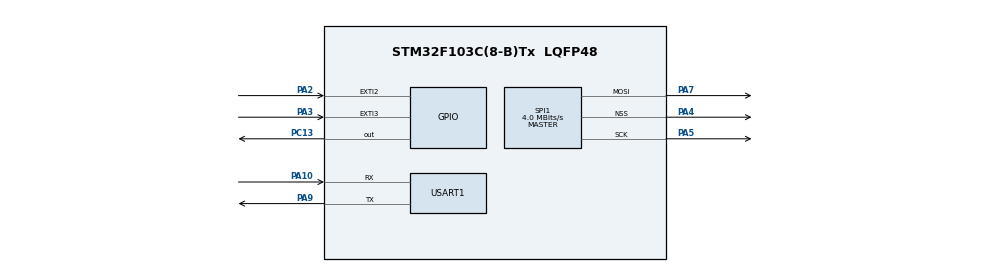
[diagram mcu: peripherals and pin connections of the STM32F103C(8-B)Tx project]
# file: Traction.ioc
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Mcu.Family=STM32F1
Mcu.Name=STM32F103C(8-B)Tx
Mcu.Package=LQFP48
NVIC.EXTI2_IRQn=true\:0\:0\:false\:false\:true\:true
NVIC.EXTI3_IRQn=true\:0\:0\:false\:false\:true\:true
NVIC.PriorityGroup=NVIC_PRIORITYGROUP_4
NVIC.TIM3_IRQn=true\:0\:0\:false\:false\:true\:true
PA10.Mode=Asynchronous
PA10.Signal=USART1_RX
PA2.Signal=GPXTI2
PA3.Signal=GPXTI3
PA4.Mode=NSS_Signal_Hard_Output
PA4.Signal=SPI1_NSS
PA5.Mode=TX_Only_Simplex_Unidirect_Master
PA5.Signal=SPI1_SCK
PA7.Mode=TX_Only_Simplex_Unidirect_Master
PA7.Signal=SPI1_MOSI
PA9.Mode=Asynchronous
PA9.Signal=USART1_TX
PC13-TAMPER-RTC.Signal=GPIO_Output
ProjectManager.HeapSize=0x200
ProjectManager.StackSize=0x400
ProjectManager.TargetToolchain=Makefile
RCC.APB1Freq_Value=8000000
RCC.APB2Freq_Value=8000000
SPI1.CalculateBaudRate=4.0 MBits/s
SPI1.DataSize=SPI_DATASIZE_8BIT
SPI1.Direction=SPI_DIRECTION_2LINES
SPI1.Mode=SPI_MODE_MASTER
SPI1.VirtualNSS=VM_NSSHARD
SPI1.VirtualType=VM_MASTER
TIM2.Channel-Output\ Compare1\ No\ Output=TIM_CHANNEL_1
TIM2.Period=40000
TIM2.Prescaler=200
TIM3.Channel-Output\ Compare1\ No\ Output=TIM_CHANNEL_1
TIM3.Period=40000
TIM3.Prescaler=1
USART1.VirtualMode=VM_ASYNC
VP_SYS_VS_ND.Mode=No_Debug
VP_TIM2_VS_ClockSourceINT.Mode=Internal
VP_TIM2_VS_no_output1.Mode=Output Compare1 No Output
VP_TIM3_VS_ClockSourceINT.Mode=Internal
VP_TIM3_VS_no_output1.Mode=Output Compare1 No Output
board=custom

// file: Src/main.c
/* USER CODE BEGIN Header */

/* USER CODE END Header */

#include "main.h"

SPI_HandleTypeDef hspi1;

TIM_HandleTypeDef htim2;
TIM_HandleTypeDef htim3;

UART_HandleTypeDef huart1;

/* USER CODE BEGIN PV */
long pin2p, pin3p, pin2t, pin3t;
int freq2, freq3;
int bias = 75;
int val = 0;
long direction = 1;
int slip = 0;
float integral = 0;
/* USER CODE END PV */

void SystemClock_Config(void);
static void MX_GPIO_Init(void);
static void MX_USART1_UART_Init(void);
static void MX_SPI1_Init(void);
static void MX_TIM2_Init(void);
static void MX_TIM3_Init(void);

int main(void)
{

  /* MCU Configuration--------------------------------------------------------*/

  /* Reset of all peripherals, Initializes the Flash interface and the Systick. */
  HAL_Init();

  /* Configure the system clock */
  SystemClock_Config();

  /* Initialize all configured peripherals */
  MX_GPIO_Init();
  MX_USART1_UART_Init();
  MX_SPI1_Init();
  MX_TIM2_Init();
  MX_TIM3_Init();

  /* Infinite loop */
  while (1)
  {
	slip = freq3 - freq2;
	integral += .01 * slip;

	val = bias + 1.25 * slip + 0.1 * integral; // + integral

	if (val > 255) val = 255;
	if (val < 0) val = 0;

	unsigned char data3[4];
	data3[0] = (freq2>>0) & 0xFF;
	data3[1] = 0xFF;
	data3[2] = (freq3) & 0xFF;
	data3[3] = 0;
	HAL_UART_Transmit(&huart1, data3, sizeof(data3), 1000);

	unsigned char spi_data[2];
	spi_data[0] = 0;
	spi_data[1] = val; //val
	HAL_SPI_Transmit(&hspi1, spi_data, sizeof(spi_data), 1000);

	//HAL_GPIO_TogglePin(GPIOC, GPIO_PIN_13);
	HAL_Delay(10);

	/*unsigned char spi_data[2];
	spi_data[0] = 0;
	spi_data[1] = 255;
	HAL_SPI_Transmit(&hspi1, spi_data, sizeof(spi_data), 1000);*/
  }
}

void SystemClock_Config(void)
{
  RCC_OscInitTypeDef RCC_OscInitStruct = {0};
  RCC_ClkInitTypeDef RCC_ClkInitStruct = {0};

  /**Initializes the CPU, AHB and APB busses clocks
  */
  RCC_OscInitStruct.OscillatorType = RCC_OSCILLATORTYPE_HSI;
  RCC_OscInitStruct.HSIState = RCC_HSI_ON;
  RCC_OscInitStruct.HSICalibrationValue = RCC_HSICALIBRATION_DEFAULT;
  RCC_OscInitStruct.PLL.PLLState = RCC_PLL_NONE;
  if (HAL_RCC_OscConfig(&RCC_OscInitStruct) != HAL_OK)
  {
    Error_Handler();
  }
  /**Initializes the CPU, AHB and APB busses clocks
  */
  RCC_ClkInitStruct.ClockType = RCC_CLOCKTYPE_HCLK|RCC_CLOCKTYPE_SYSCLK
                              |RCC_CLOCKTYPE_PCLK1|RCC_CLOCKTYPE_PCLK2;
  RCC_ClkInitStruct.SYSCLKSource = RCC_SYSCLKSOURCE_HSI;
  RCC_ClkInitStruct.AHBCLKDivider = RCC_SYSCLK_DIV1;
  RCC_ClkInitStruct.APB1CLKDivider = RCC_HCLK_DIV1;
  RCC_ClkInitStruct.APB2CLKDivider = RCC_HCLK_DIV1;

  if (HAL_RCC_ClockConfig(&RCC_ClkInitStruct, FLASH_LATENCY_0) != HAL_OK)
  {
    Error_Handler();
  }
}

static void MX_SPI1_Init(void)
{

  /* SPI1 parameter configuration*/
  hspi1.Instance = SPI1;
  hspi1.Init.Mode = SPI_MODE_MASTER;
  hspi1.Init.Direction = SPI_DIRECTION_2LINES;
  hspi1.Init.DataSize = SPI_DATASIZE_8BIT;
  hspi1.Init.CLKPolarity = SPI_POLARITY_LOW;
  hspi1.Init.CLKPhase = SPI_PHASE_1EDGE;
  hspi1.Init.NSS = SPI_NSS_HARD_OUTPUT;
  hspi1.Init.BaudRatePrescaler = SPI_BAUDRATEPRESCALER_2;
  hspi1.Init.FirstBit = SPI_FIRSTBIT_MSB;
  hspi1.Init.TIMode = SPI_TIMODE_DISABLE;
  hspi1.Init.CRCCalculation = SPI_CRCCALCULATION_DISABLE;
  hspi1.Init.CRCPolynomial = 10;
  if (HAL_SPI_Init(&hspi1) != HAL_OK)
  {
    Error_Handler();
  }

}

static void MX_TIM2_Init(void)
{

  TIM_ClockConfigTypeDef sClockSourceConfig = {0};
  TIM_MasterConfigTypeDef sMasterConfig = {0};

  htim2.Instance = TIM2;
  htim2.Init.Prescaler = 200;
  htim2.Init.CounterMode = TIM_COUNTERMODE_UP;
  htim2.Init.Period = 40000;
  htim2.Init.ClockDivision = TIM_CLOCKDIVISION_DIV1;
  htim2.Init.AutoReloadPreload = TIM_AUTORELOAD_PRELOAD_DISABLE;
  if (HAL_TIM_Base_Init(&htim2) != HAL_OK)
  {
    Error_Handler();
  }
  sClockSourceConfig.ClockSource = TIM_CLOCKSOURCE_INTERNAL;
  if (HAL_TIM_ConfigClockSource(&htim2, &sClockSourceConfig) != HAL_OK)
  {
    Error_Handler();
  }
  if (HAL_TIM_OC_Init(&htim2) != HAL_OK)
  {
    Error_Handler();
  }
  sMasterConfig.MasterOutputTrigger = TIM_TRGO_RESET;
  sMasterConfig.MasterSlaveMode = TIM_MASTERSLAVEMODE_DISABLE;
  if (HAL_TIMEx_MasterConfigSynchronization(&htim2, &sMasterConfig) != HAL_OK)
  {
    Error_Handler();
  }
  /* USER CODE BEGIN TIM2_Init 2 */
  HAL_TIM_Base_Start(&htim2);
  /* USER CODE END TIM2_Init 2 */

}

static void MX_TIM3_Init(void)
{

  TIM_ClockConfigTypeDef sClockSourceConfig = {0};
  TIM_MasterConfigTypeDef sMasterConfig = {0};

  htim3.Instance = TIM3;
  htim3.Init.Prescaler = 1;
  htim3.Init.CounterMode = TIM_COUNTERMODE_UP;
  htim3.Init.Period = 40000;
  htim3.Init.ClockDivision = TIM_CLOCKDIVISION_DIV1;
  htim3.Init.AutoReloadPreload = TIM_AUTORELOAD_PRELOAD_DISABLE;
  if (HAL_TIM_Base_Init(&htim3) != HAL_OK)
  {
    Error_Handler();
  }
  sClockSourceConfig.ClockSource = TIM_CLOCKSOURCE_INTERNAL;
  if (HAL_TIM_ConfigClockSource(&htim3, &sClockSourceConfig) != HAL_OK)
  {
    Error_Handler();
  }
  if (HAL_TIM_OC_Init(&htim3) != HAL_OK)
  {
    Error_Handler();
  }
  sMasterConfig.MasterOutputTrigger = TIM_TRGO_RESET;
  sMasterConfig.MasterSlaveMode = TIM_MASTERSLAVEMODE_DISABLE;
  if (HAL_TIMEx_MasterConfigSynchronization(&htim3, &sMasterConfig) != HAL_OK)
  {
    Error_Handler();
  }
  /* USER CODE BEGIN TIM3_Init 2 */
  HAL_NVIC_SetPriority(TIM3_IRQn, 0, 0);
  HAL_NVIC_EnableIRQ(TIM3_IRQn);
  //HAL_TIM_Base_Start_IT(&htim3);
  /* USER CODE END TIM3_Init 2 */

}

static void MX_USART1_UART_Init(void)
{

  huart1.Instance = USART1;
  huart1.Init.BaudRate = 115200;
  huart1.Init.WordLength = UART_WORDLENGTH_8B;
  huart1.Init.StopBits = UART_STOPBITS_1;
  huart1.Init.Parity = UART_PARITY_NONE;
  huart1.Init.Mode = UART_MODE_TX_RX;
  huart1.Init.HwFlowCtl = UART_HWCONTROL_NONE;
  huart1.Init.OverSampling = UART_OVERSAMPLING_16;
  if (HAL_UART_Init(&huart1) != HAL_OK)
  {
    Error_Handler();
  }

}

static void MX_GPIO_Init(void)
{
  GPIO_InitTypeDef GPIO_InitStruct = {0};

  /* GPIO Ports Clock Enable */
  __HAL_RCC_GPIOC_CLK_ENABLE();
  __HAL_RCC_GPIOA_CLK_ENABLE();

  /*Configure GPIO pin Output Level */
  HAL_GPIO_WritePin(GPIOC, GPIO_PIN_13, GPIO_PIN_RESET);

  /*Configure GPIO pins : PA2 PA3 */
  GPIO_InitStruct.Pin = GPIO_PIN_2|GPIO_PIN_3;
  GPIO_InitStruct.Mode = GPIO_MODE_IT_RISING;
  GPIO_InitStruct.Pull = GPIO_NOPULL;
  HAL_GPIO_Init(GPIOA, &GPIO_InitStruct);

  /*Configure GPIO pin : PC13 */
  GPIO_InitStruct.Pin = GPIO_PIN_13;
  GPIO_InitStruct.Mode = GPIO_MODE_OUTPUT_PP;
  GPIO_InitStruct.Pull = GPIO_NOPULL;
  GPIO_InitStruct.Speed = GPIO_SPEED_FREQ_LOW;
  HAL_GPIO_Init(GPIOC, &GPIO_InitStruct);

  /* EXTI interrupt init*/
  HAL_NVIC_SetPriority(EXTI2_IRQn, 0, 0);
  HAL_NVIC_EnableIRQ(EXTI2_IRQn);

  HAL_NVIC_SetPriority(EXTI3_IRQn, 0, 0);
  HAL_NVIC_EnableIRQ(EXTI3_IRQn);

}

/******************************************************************************/
/* STM32F1xx Peripheral Interrupt Handlers                                    */
/* Add here the Interrupt Handlers for the used peripherals.                  */
/* For the available peripheral interrupt handler names,                      */
/* please refer to the startup file (startup_stm32f1xx.s).                    */
/******************************************************************************/

/**
  * @brief This function handles EXTI line2 interrupt.
  */
void EXTI2_IRQHandler(void)
{
	/* USER CODE BEGIN EXTI2_IRQn 0 */
	long pin2c = __HAL_TIM_GET_COUNTER(&htim2);
    if (pin2c > pin2t) pin2p = pin2c-pin2t;
    else pin2p = pin2c-pin2t+40000;
    freq2 = 40000 / pin2p;
    pin2t = pin2c;
	HAL_GPIO_TogglePin(GPIOC, GPIO_PIN_13);
	/*unsigned char data2[1];
	data2[0] = freq2 & 0xFF;
	HAL_UART_Transmit(&huart1, data2, sizeof(data2), 1000);*/
	/* USER CODE END EXTI2_IRQn 0 */
	HAL_GPIO_EXTI_IRQHandler(GPIO_PIN_2);
}

/**
  * @brief This function handles EXTI line3 interrupt.
  */
void EXTI3_IRQHandler(void)
{
  /* USER CODE BEGIN EXTI3_IRQn 0 */
  long pin3c = __HAL_TIM_GET_COUNTER(&htim2);
  if (pin3c > pin3t) pin3p = pin3c-pin3t;
  else pin3p = pin3c-pin3t+40000;
  freq3 = 40000 / pin3p;
  pin3t = pin3c;
  //HAL_GPIO_TogglePin(GPIOC, GPIO_PIN_13);
  /*unsigned char data3[2];
  data3[0] = 255;
  data3[1] = (freq3>>0) & 0xFF;
  HAL_UART_Transmit(&huart1, data3, sizeof(data3), 1000);*/
  /* USER CODE END EXTI3_IRQn 0 */
  HAL_GPIO_EXTI_IRQHandler(GPIO_PIN_3);
}

/**
  * @brief This function handles TIM3 global interrupt.
  */
void TIM3_IRQHandler(void)
{
  /* USER CODE BEGIN TIM3_IRQn 0 */
  //HAL_GPIO_TogglePin(GPIOC, GPIO_PIN_13);

/*  long slip = freq3 - freq2;

  long val = 50 + slip;*/

  /*if (direction == 1) val++;
  else val--;

  if (val == 255) direction = 0;
  if (val == 0) direction = 1;*/

  unsigned char spi_data[2];
  spi_data[0] = 0;
  spi_data[1] = val;
  HAL_SPI_Transmit(&hspi1, spi_data, sizeof(spi_data), 1000);
  /* USER CODE END TIM3_IRQn 0 */
  HAL_TIM_IRQHandler(&htim3);
}

void Error_Handler(void)
{
}

/************************ (C) COPYRIGHT STMicroelectronics *****END OF FILE****/
